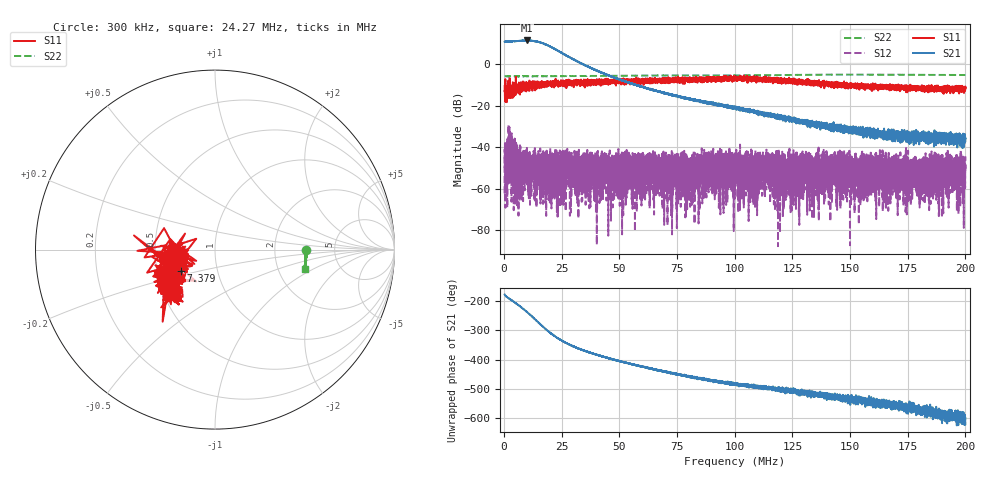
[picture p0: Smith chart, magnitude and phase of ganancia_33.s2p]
# Hz S DB R 50
! CMT, M5065, 19127446, 24.2.4/2
! Date: 11/8/2024 5:12:34 PM
! Data: Format (Calibration Info)
! Freq	S11:dB/Ang(F2)	S21:dB/Ang(F2)	S12:dB/Ang(F2)	S22:dB/Ang(F2)
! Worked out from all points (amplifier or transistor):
!   9000 points, 300 kHz to 200 MHz, reference 50 ohm
!   highest |S21| = 11.4 dB at 9.82 MHz (marker M1)
!   |S21| within 3 dB of that: start of sweep to 20.16 MHz
!   unconditionally stable (mu >= 1): start of sweep to end of sweep
!   at 33.59 MHz: K = 50.44, MAG = 2.3 dB, |S12| = -44.4 dB
!   at 100.2 MHz: K = 1924.85, MAG = -18.8 dB, |S12| = -55.4 dB
!   at 200 MHz: K = 3936.23, MAG = -35.3 dB, |S12| = -44.5 dB
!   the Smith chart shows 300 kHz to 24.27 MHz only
!   S11 on the Smith chart (normalised r, x): 300 kHz: 0.55, -0.07; 7.379 MHz: 0.67, -0.17; 24.27 MHz: 0.57, -0.33
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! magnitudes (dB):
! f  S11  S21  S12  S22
! 300 kHz  -10.6  10.8  -62.4  -5.9
! 1.299 MHz  -17.1  10.9  -44.0  -5.9
! 1.942 MHz  -13.5  10.8  -46.4  -5.9
! 7.379 MHz  -13.1  11.2  -50.0  -5.9
! 9.82 MHz  -9.9  11.4  -45.1  -5.9
! 24.27 MHz  -9.4  5.9  -45.3  -5.8
! 33.59 MHz  -8.6  0.3  -44.4  -5.7
! 66.87 MHz  -8.0  -13.3  -55.4  -5.5
! 78.37 MHz  -8.7  -16.5  -52.9  -5.5
! 80.83 MHz  -7.0  -16.9  -53.9  -5.5
! 89.75 MHz  -7.0  -18.7  -50.1  -5.5
! 100.2 MHz  -6.7  -21.3  -55.4  -5.4
! 115.4 MHz  -7.9  -24.6  -45.4  -5.4
! 120.3 MHz  -8.9  -25.4  -47.9  -5.3
! 130.3 MHz  -9.2  -28.3  -60.7  -5.2
! 133.4 MHz  -8.3  -29.1  -45.7  -5.2
! 143.3 MHz  -10.5  -30.4  -42.7  -5.1
! 166.7 MHz  -11.8  -32.5  -46.8  -5.1
! 185.1 MHz  -13.2  -35.2  -46.3  -5.2
! 193.8 MHz  -13.0  -34.9  -58.0  -5.3
! 198.4 MHz  -11.6  -37.7  -53.5  -5.3
! 200 MHz  -11.4  -37.2  -44.5  -5.3
